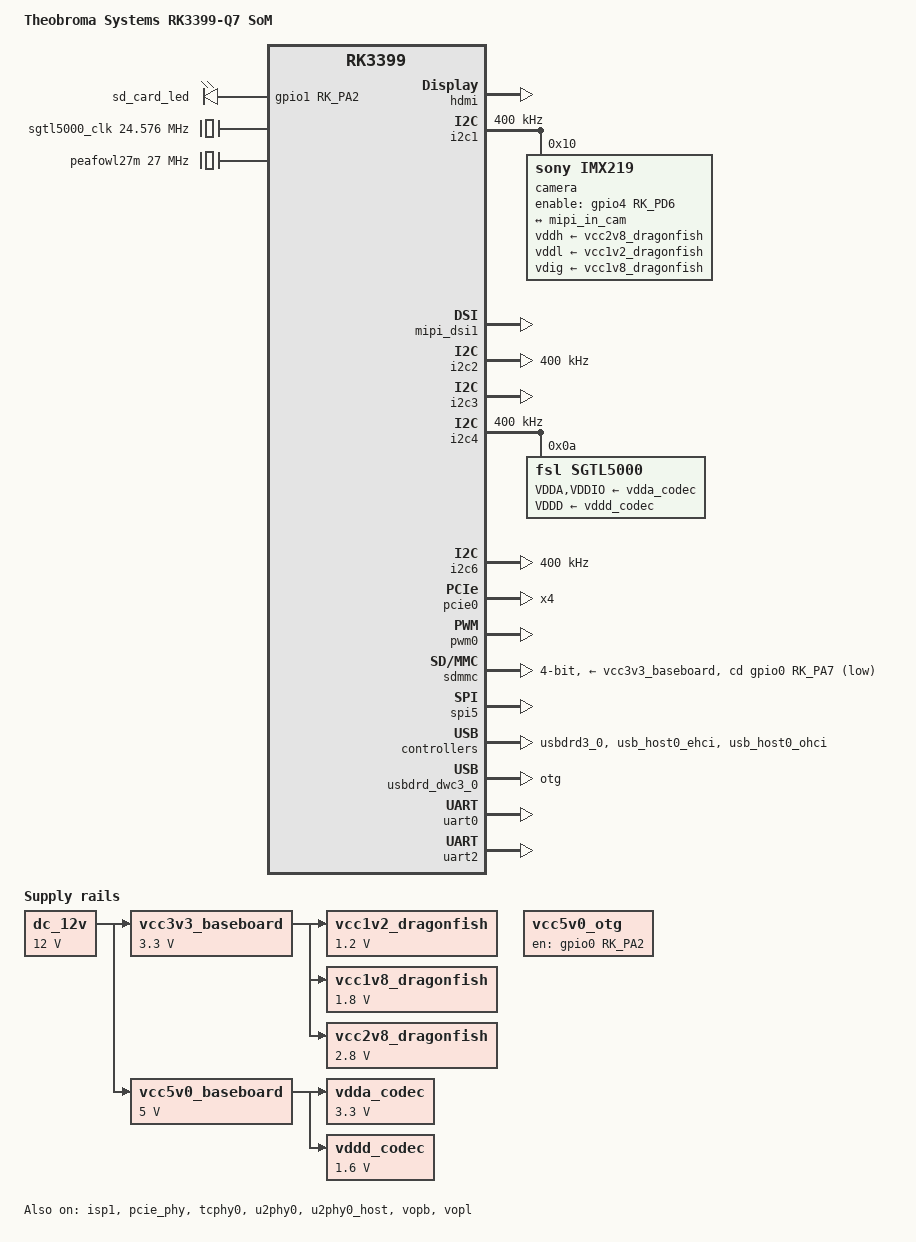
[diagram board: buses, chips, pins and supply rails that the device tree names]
// SPDX-License-Identifier: (GPL-2.0+ OR MIT)
/*
 * Copyright (c) 2017 Theobroma Systems Design und Consulting GmbH
 */

/dts-v1/;
#include "rk3399-puma.dtsi"

/ {
	model = "Theobroma Systems RK3399-Q7 SoM";
	compatible = "tsd,rk3399-puma-haikou", "rockchip,rk3399";

	chosen {
		stdout-path = "serial0:115200n8";
	};

	leds {
		pinctrl-0 = <&led_pin_module>, <&led_sd_haikou>;

		sd-card-led {
			label = "sd_card_led";
			gpios = <&gpio1 RK_PA2 GPIO_ACTIVE_HIGH>;
			linux,default-trigger = "mmc0";
		};
	};

	i2s0-sound {
		compatible = "simple-audio-card";
		simple-audio-card,format = "i2s";
		simple-audio-card,name = "Haikou,I2S-codec";
		simple-audio-card,mclk-fs = <512>;

		simple-audio-card,codec {
			clocks = <&sgtl5000_clk>;
			sound-dai = <&sgtl5000>;
		};

		simple-audio-card,cpu {
			bitclock-master;
			frame-master;
			sound-dai = <&i2s0>;
		};
	};

	sgtl5000_clk: sgtl5000-oscillator  {
			compatible = "fixed-clock";
			#clock-cells = <0>;
			clock-frequency  = <24576000>;
	};

	dc_12v: dc-12v {
		compatible = "regulator-fixed";
		regulator-name = "dc_12v";
		regulator-always-on;
		regulator-boot-on;
		regulator-min-microvolt = <12000000>;
		regulator-max-microvolt = <12000000>;
	};

	vcc3v3_baseboard: vcc3v3-baseboard {
		compatible = "regulator-fixed";
		regulator-name = "vcc3v3_baseboard";
		regulator-always-on;
		regulator-boot-on;
		regulator-min-microvolt = <3300000>;
		regulator-max-microvolt = <3300000>;
		vin-supply = <&dc_12v>;
	};

	vcc5v0_baseboard: vcc5v0-baseboard {
		compatible = "regulator-fixed";
		regulator-name = "vcc5v0_baseboard";
		regulator-always-on;
		regulator-boot-on;
		regulator-min-microvolt = <5000000>;
		regulator-max-microvolt = <5000000>;
		vin-supply = <&dc_12v>;
	};

	vcc5v0_otg: vcc5v0-otg-regulator {
		compatible = "regulator-fixed";
		enable-active-high;
		gpio = <&gpio0 RK_PA2 GPIO_ACTIVE_HIGH>;
		pinctrl-names = "default";
		pinctrl-0 = <&otg_vbus_drv>;
		regulator-name = "vcc5v0_otg";
		regulator-always-on;
	};

	vdda_codec: vdda-codec {
		compatible = "regulator-fixed";
		regulator-name = "vdda_codec";
		regulator-boot-on;
		regulator-min-microvolt = <3300000>;
		regulator-max-microvolt = <3300000>;
		vin-supply = <&vcc5v0_baseboard>;
	};

	vddd_codec: vddd-codec {
		compatible = "regulator-fixed";
		regulator-name = "vddd_codec";
		regulator-boot-on;
		regulator-min-microvolt = <1600000>;
		regulator-max-microvolt = <1600000>;
		vin-supply = <&vcc5v0_baseboard>;
	};
};

&hdmi {
	ddc-i2c-bus = <&i2c3>;
	status = "okay";
};


/ {
	vcc1v2_dragonfish: vcc1v2-dragonfish {
		compatible = "regulator-fixed";
		regulator-name = "vcc1v2-dragonfish";
		regulator-always-on;
		regulator-boot-on;
		regulator-min-microvolt = <1200000>;
		regulator-max-microvolt = <1200000>;
		vin-supply = <&vcc3v3_baseboard>;
	};

	vcc1v8_dragonfish: vcc1v8-dragonfish {
		compatible = "regulator-fixed";
		regulator-name = "vcc1v8-dragonfish";
		regulator-always-on;
		regulator-boot-on;
		regulator-min-microvolt = <1800000>;
		regulator-max-microvolt = <1800000>;
		vin-supply = <&vcc3v3_baseboard>;
	};

	vcc2v8_dragonfish: vcc2v8-dragonfish {
		compatible = "regulator-fixed";
		regulator-name = "vcc2v8-dragonfish";
		regulator-always-on;
		regulator-boot-on;
		regulator-min-microvolt = <2800000>;
		regulator-max-microvolt = <2800000>;
		vin-supply = <&vcc3v3_baseboard>;
	};




	peafowl27m: peafowl27m {
		compatible = "fixed-clock";
		clock-frequency = <27000000>;
		clock-output-names = "peafowl27m";
		#clock-cells = <0>;
	};

};


&i2c1 {
	status = "okay";
	clock-frequency = <400000>;

	camera@10 {
		compatible = "sony,imx219";
		reg = <0x10>;
		assigned-clocks = <&cru SCLK_CIF_OUT>;
		assigned-clock-rates = <12000000>;
		clocks = <&cru SCLK_CIF_OUT>;
		enable-gpios = <&gpio4 RK_PD6 GPIO_ACTIVE_HIGH>;
		pinctrl-names = "default";
		pinctrl-0 = <&cif_clkouta>, <&cam_reset>;
		vddh-supply = <&vcc2v8_dragonfish>;
		vddl-supply = <&vcc1v2_dragonfish>;
		vdig-supply = <&vcc1v8_dragonfish>;

		port {
			cam_out: endpoint {
				remote-endpoint = <&mipi_in_cam>;
				clock-lanes = <0>;
				data-lanes = <1 2 3 4>;
				link-frequencies = /*/bits/ 64 <297000000>, */
						   /bits/ 64 <456000000>;
			};
		};
	};

/*	camera@10 {
		compatible = "ovti,ov13850";
		reg = <0x10>;
		clocks = <&cru SCLK_CIF_OUT>;
		clock-names = "xvclk";
		avdd-supply = <&vcc2v8_dragonfish>;
		dvdd-supply = <&vcc1v2_dragonfish>;
		dovdd-supply = <&vcc1v8_dragonfish>;
		pinctrl-names = "default";
		pinctrl-0 = <&cif_clkouta>, <&cam_reset>, <&cam_pwdn>;
		powerdown-gpios = <&gpio2 RK_PA7 GPIO_ACTIVE_LOW>;
		reset-gpios = <&gpio4 RK_PD6 GPIO_ACTIVE_LOW>;

		port {
			cam_out: endpoint {
				remote-endpoint = <&mipi_in_cam>;
				clock-lanes = <0>;
				data-lanes = <1 2 3 4>;
			};
		};
	}; */

/*	tc358749@f {
		compatible = "toshiba,tc358743";
		reg = <0xf>;
		clocks = <&peafowl27m>;
		clock-names = "refclk";
		interrupt-parent = <&gpio1>;
		interrupts = <RK_PC7 IRQ_TYPE_LEVEL_HIGH>; */
		/* pinctrl init state setting int low for 0xf address select */
/*		pinctrl-names = "init", "default";
		pinctrl-0 = <&tc358749_reset>, <&tc358749_int_low>;
		pinctrl-1 = <&tc358749_reset>, <&tc358749_int>;
		reset-gpios = <&gpio4 RK_PD6 GPIO_ACTIVE_LOW>;

		port {
			cam_out: endpoint {
				remote-endpoint = <&mipi_in_cam>;
				bus-type = <4>;
				clock-lanes = <0>;
				data-lanes = <1 2 3 4>;
				link-frequencies = /bits/ 64 <297000000>,
						   /bits/ 64 <400000000>;
			};
		};
	}; */
};

//for ov13850
&i2c7 {
	status = "disabled";
};

&mipi_dsi1 {
	status = "okay";
};

&isp1 {
	status = "okay";

	ports {
		port@0 {
			mipi_in_cam: endpoint@0 {
				reg = <0>;
				remote-endpoint = <&cam_out>;
				data-lanes = <1 2 3 4>;
			};
		};
	};
};

&i2c2 {
	status = "okay";
	clock-frequency = <400000>;
};

&i2c3 {
	i2c-scl-rising-time-ns = <450>;
	i2c-scl-falling-time-ns = <15>;
	status = "okay";
};

&i2c4 {
	status = "okay";
	clock-frequency = <400000>;

	sgtl5000: codec@a {
		compatible = "fsl,sgtl5000";
		reg = <0x0a>;
		clocks = <&sgtl5000_clk>;
		#sound-dai-cells = <0>;
		VDDA-supply = <&vdda_codec>;
		VDDIO-supply = <&vdda_codec>;
		VDDD-supply = <&vddd_codec>;
		status = "okay";
	};
};

&i2c6 {
	status = "okay";
	clock-frequency = <400000>;
};

&pcie_phy {
	status = "okay";
};

&pcie0 {
	ep-gpios = <&gpio4 RK_PC6 GPIO_ACTIVE_HIGH>;
	num-lanes = <4>;
	pinctrl-names = "default";
	pinctrl-0 = <&pcie_clkreqn_cpm>;
	status = "okay";
};

&pinctrl {
	pinctrl-names = "default";
	pinctrl-0 = <&haikou_pin_hog>;

	cam {
		/* only for ov13850 */
		cam_pwdn: cam-pwdn {
			rockchip,pins = <2 RK_PA7 RK_FUNC_GPIO &pcfg_pull_none>;
		};

		cam_reset: cam-reset {
			rockchip,pins = <4 RK_PD6 RK_FUNC_GPIO &pcfg_pull_none>;
		};

		tc358749_int: tc358749-int {
			rockchip,pins = <1 RK_PC7 RK_FUNC_GPIO &pcfg_pull_down>;
		};

		tc358749_int_low: tc358749-int-low {
			rockchip,pins = <1 RK_PC7 RK_FUNC_GPIO &pcfg_output_low>;
		};

		tc358749_reset: tc358749-reset {
			rockchip,pins = <4 RK_PD6 RK_FUNC_GPIO &pcfg_pull_none>;
		};
	};

	hog {
		haikou_pin_hog: haikou-pin-hog {
			rockchip,pins =
			  /* LID_BTN */
			  <0 RK_PA4 RK_FUNC_GPIO &pcfg_pull_up>,
			  /* BATLOW# */
			  <0 RK_PB2 RK_FUNC_GPIO &pcfg_pull_up>,
			  /* SLP_BTN# */
			  <0 RK_PB3 RK_FUNC_GPIO &pcfg_pull_up>,
			  /* BIOS_DISABLE# */
			  <0 RK_PB1 RK_FUNC_GPIO &pcfg_pull_up>;
		};
	};

	leds {
		led_sd_haikou: led-sd-gpio {
			rockchip,pins =
			  <1 RK_PA2 RK_FUNC_GPIO &pcfg_pull_none>;
		};
	};

	usb2 {
		otg_vbus_drv: otg-vbus-drv {
			rockchip,pins =
			  <0 RK_PA2 RK_FUNC_GPIO &pcfg_pull_none>;
		};
	};
};

&pwm0 {
	status = "okay";
};

&sdmmc {
	bus-width = <4>;
	cap-mmc-highspeed;
	cap-sd-highspeed;
	cd-gpios = <&gpio0 RK_PA7 GPIO_ACTIVE_LOW>;
	disable-wp;
	max-frequency = <150000000>;
	pinctrl-names = "default";
	pinctrl-0 = <&sdmmc_clk &sdmmc_cmd &sdmmc_cd &sdmmc_bus4>;
	vmmc-supply = <&vcc3v3_baseboard>;
	status = "okay";
};

&spi5 {
	status = "okay";
};

&tcphy0 {
	status = "okay";
};

&u2phy0 {
	status = "okay";
};

&usbdrd3_0 {
	status = "okay";
};

&usbdrd_dwc3_0 {
	dr_mode = "otg";
	status = "okay";
};

&u2phy0_host {
	phy-supply = <&vcc5v0_otg>;
	status = "okay";
};

&uart0 {
	pinctrl-names = "default";
	pinctrl-0 = <&uart0_xfer &uart0_cts &uart0_rts>;
	status = "okay";
};

&uart2 {
	status = "okay";
};

&usb_host0_ehci {
	status = "okay";
};

&usb_host0_ohci {
	status = "okay";
};

&vopb {
	status = "okay";
};

&vopb_mmu {
	status = "okay";
};

&vopl {
	status = "okay";
};

&vopl_mmu {
	status = "okay";
};
